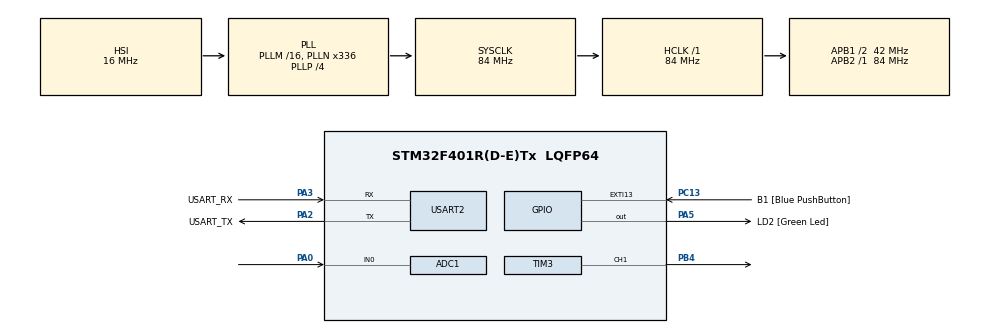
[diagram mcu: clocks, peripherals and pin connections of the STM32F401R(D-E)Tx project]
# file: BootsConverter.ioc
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ADC1.Channel-3\#ChannelRegularConversion=ADC_CHANNEL_0
ADC1.ExternalTrigConv=ADC_EXTERNALTRIGCONV_T2_TRGO
ADC1.NbrOfConversionFlag=1
ADC1.Rank-3\#ChannelRegularConversion=1
ADC1.SamplingTime-3\#ChannelRegularConversion=ADC_SAMPLETIME_84CYCLES
ADC1.master=1
Mcu.Family=STM32F4
Mcu.Name=STM32F401R(D-E)Tx
Mcu.Package=LQFP64
NVIC.ADC_IRQn=true\:0\:0\:false\:false\:true\:true\:true\:true
NVIC.PriorityGroup=NVIC_PRIORITYGROUP_4
NVIC.TIM4_IRQn=true\:2\:0\:true\:false\:true\:true\:true\:true
NVIC.USART2_IRQn=true\:1\:0\:true\:false\:true\:true\:true\:true
PA0-WKUP.Signal=ADCx_IN0
PA13.GPIO_Label=TMS
PA13.Mode=Serial_Wire
PA13.Signal=SYS_JTMS-SWDIO
PA14.GPIO_Label=TCK
PA14.Mode=Serial_Wire
PA14.Signal=SYS_JTCK-SWCLK
PA2.GPIO_Label=USART_TX
PA2.GPIO_Mode=GPIO_MODE_AF_PP
PA2.GPIO_PuPd=GPIO_NOPULL
PA2.GPIO_Speed=GPIO_SPEED_FREQ_LOW
PA2.Mode=Asynchronous
PA2.Signal=USART2_TX
PA3.GPIO_Label=USART_RX
PA3.GPIO_Mode=GPIO_MODE_AF_PP
PA3.GPIO_PuPd=GPIO_NOPULL
PA3.GPIO_Speed=GPIO_SPEED_FREQ_LOW
PA3.Mode=Asynchronous
PA3.Signal=USART2_RX
PA5.GPIO_Label=LD2 [Green Led]
PA5.GPIO_Mode=GPIO_MODE_OUTPUT_PP
PA5.GPIO_PuPd=GPIO_NOPULL
PA5.GPIO_Speed=GPIO_SPEED_FREQ_LOW
PA5.Signal=GPIO_Output
PB3.GPIO_Label=SWO
PB3.Signal=SYS_JTDO-SWO
PB4.Signal=S_TIM3_CH1
PC13-ANTI_TAMP.GPIO_Label=B1 [Blue PushButton]
PC13-ANTI_TAMP.GPIO_ModeDefaultEXTI=GPIO_MODE_IT_FALLING
PC13-ANTI_TAMP.GPIO_PuPd=GPIO_NOPULL
PC13-ANTI_TAMP.Signal=GPXTI13
PC14-OSC32_IN.Mode=LSE-External-Oscillator
PC14-OSC32_IN.Signal=RCC_OSC32_IN
PC15-OSC32_OUT.Mode=LSE-External-Oscillator
PC15-OSC32_OUT.Signal=RCC_OSC32_OUT
PH0\ -\ OSC_IN.Mode=HSE-External-Clock-Source
PH0\ -\ OSC_IN.Signal=RCC_OSC_IN
PH1\ -\ OSC_OUT.Mode=HSE-External-Clock-Source
PH1\ -\ OSC_OUT.Signal=RCC_OSC_OUT
ProjectManager.HeapSize=0x200
ProjectManager.StackSize=0x400
ProjectManager.TargetToolchain=MDK-ARM V5.32
RCC.48MHZClocksFreq_Value=48000000
RCC.AHBFreq_Value=84000000
RCC.APB1CLKDivider=RCC_HCLK_DIV2
RCC.APB1Freq_Value=42000000
RCC.APB1TimFreq_Value=84000000
RCC.APB2Freq_Value=84000000
RCC.APB2TimFreq_Value=84000000
RCC.CortexFreq_Value=84000000
RCC.HCLKFreq_Value=84000000
RCC.HSE_VALUE=8000000
RCC.HSI_VALUE=16000000
RCC.PLLN=336
RCC.PLLP=RCC_PLLP_DIV4
RCC.PLLQ=7
RCC.SYSCLKFreq_VALUE=84000000
RCC.SYSCLKSource=RCC_SYSCLKSOURCE_PLLCLK
RCC.VCOOutputFreq_Value=336000000
SH.ADCx_IN0.0=ADC1_IN0,IN0
SH.S_TIM3_CH1.0=TIM3_CH1,PWM Generation1 CH1
TIM2.Period=199
TIM2.Prescaler=83
TIM2.TIM_MasterOutputTrigger=TIM_TRGO_UPDATE
TIM3.Channel-PWM\ Generation1\ CH1=TIM_CHANNEL_1
TIM3.Period=839
TIM3.Pulse-PWM\ Generation1\ CH1=252
TIM4.Period=19999
TIM4.Prescaler=83
USART2.VirtualMode=VM_ASYNC
VP_TIM2_VS_ClockSourceINT.Mode=Internal
VP_TIM3_VS_ClockSourceINT.Mode=Internal
VP_TIM4_VS_ClockSourceINT.Mode=Internal
board=NUCLEO-F401RE

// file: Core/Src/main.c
/* USER CODE BEGIN Header */
/**
  ******************************************************************************
  * @file           : main.c
  * @brief          : Main program body
  ******************************************************************************
  * @attention
  *
  * Copyright (c) 2026 STMicroelectronics.
  * All rights reserved.
  *
  * This software is licensed under terms that can be found in the LICENSE file
  * in the root directory of this software component.
  * If no LICENSE file comes with this software, it is provided AS-IS.
  *
  ******************************************************************************
  */
/* USER CODE END Header */
#include "main.h"

/* USER CODE BEGIN Includes */
#include <stdio.h>

/* USER CODE END Includes */

/* USER CODE BEGIN PTD */

/*-----------------------------------------------------------
 * Stores ADC and output-voltage measurement data.
 *
 * adc_raw:
 *     Raw 12-bit ADC conversion result.
 *     Valid range: 0 ~ 4095.
 *
 * adc_mv:
 *     Voltage measured directly at the ADC input pin
 *     (PA0 / ADC1_IN0), in millivolts.
 *
 * vout_mv:
 *     Reconstructed Boost converter output voltage
 *     calculated from the feedback divider ratio.
 *
 * sample_count:
 *     Incremented after every ADC conversion.
 *     Since the ADC sampling rate is 5 kHz,
 *     this counter increases approximately 5000 times
 *     per second.
 ------------------------------------------------------------*/

typedef struct
{
    uint32_t adc_raw;
    uint32_t adc_mv;
		uint32_t vout_mv;
    uint32_t sample_count;

	  uint32_t vout_sum_mv;
    uint32_t vout_avg_mv;

    uint16_t avg_sample_count;
    uint8_t  avg_valid;

} Measurement_t;

/*-------------------------------------------------
 * Stores PI controller parameters, dynamic states,
 * and protection states.
 *
 * vref_mv:
 *     Target output voltage in millivolts.
 *
 * error_mv:
 *     Voltage regulation error:
 *
 *         error = Vref - Vout
 *
 *
 * kp / ki:
 *     PI controller gains.
 *
 * integral:
 *     Integral accumulator state:
 *
 *         integral += error * Ts
 *
 * duty_ff_permille:
 *     Nominal feed-forward duty cycle.
 *
 *     Example:
 *         300 = 30.0%
 *
 * duty_min_permille / duty_max_permille:
 *     Allowed duty-cycle range during normal
 *     closed-loop operation.
 *
 * enabled:
 *     Controller enable flag.
 *     Cleared when a protection fault occurs.
 *
 * fault_ovp:
 *     Latched over-voltage protection flag.
 *
 * fb_low_count:
 *     Number of consecutive low-feedback ADC samples.
 *
 * fault_feedback:
 *     Latched low-feedback fault flag.
 --------------------------------------------------*/

typedef struct
{
    uint32_t vref_mv;
	  int32_t error_mv;

		float kp;
		float ki;
	  float integral;

    uint16_t duty_ff_permille;
    uint16_t duty_min_permille;
    uint16_t duty_max_permille;

    uint8_t enabled;
	  uint8_t fault_ovp;

		uint16_t fb_low_count;
	  uint8_t fault_feedback;

} Controller_t;

/* USER CODE END PTD */

/* USER CODE BEGIN PD */

/* ============================================================
 * PWM Configuration
 * ============================================================
 *
 * Duty cycle is represented in permille:
 *
 *     1000 = 100.0%
 *      300 =  30.0%
 *       50 =   5.0%
 *
 * Permille representation provides 0.1% resolution
 * without using floating-point values in the PWM driver.
 */

/*
 * Absolute PWM duty-cycle limit.
 *
 * PWM_SetDutyPermille() will never allow the PWM output
 * to exceed this value, even if the controller generates
 * an invalid command.
 */

#define PWM_DUTY_MAX_PERMILLE           650U

/* ============================================================
 * Controller Configuration
 * ============================================================ */

/* Target Boost converter output voltage: 7.0 V */

#define CONTROL_VREF_MV                7000U

/*
 * Nominal feed-forward duty cycle.
 *
 * For an ideal Boost converter:
 *
 *     Vout = Vin / (1 - D)
 *
 * Therefore:
 *
 *     D = 1 - Vin / Vout
 *
 * For Vin = 5 V and Vout = 7 V:
 *
 *     D = 1 - 5/7
 *       = 0.286
 *
 * A nominal duty cycle of 30% is therefore used.
 */

#define CONTROL_DUTY_FF_PERMILLE        400U
//200
/*
 * Allowed duty-cycle range during normal
 * closed-loop operation:
 *
 *     15% <= duty <= 65%
 *
 * Protection functions may bypass the minimum duty
 * and force the PWM output to 0%.
 */

#define CONTROL_DUTY_MIN_PERMILLE       150U
#define CONTROL_DUTY_MAX_PERMILLE       650U

/*
 * Maximum contribution from the integral term.
 *
 *     +0.3 = +30% duty correction
 *     -0.3 = -30% duty correction
 *
 * This prevents excessive integral accumulation and
 * improves recovery after large operating-point changes.
 */

#define CONTROL_I_TERM_LIMIT    0.15f
//0.05
/*
 * Over-voltage protection threshold.
 *
 * When reconstructed Vout >= 10.0 V:
 *
 *     fault_ovp = 1
 *     controller is disabled
 *     PWM duty is forced to 0%
 *
 * The fault is latched until MCU reset.
 */

#define CONTROL_OVP_MV    10000U

/*
 * Low-feedback protection threshold.
 *
 * If Vout remains below 3.0 V for a sufficiently long
 * period, the feedback path or power stage is considered
 * abnormal.
 */

#define CONTROL_FB_LOW_MV            3000U

/*
 * The control loop runs at 5 kHz.
 *
 * 500 samples / 5000 samples/s
 * = 0.1 s
 * = 100 ms
 */

#define CONTROL_FB_LOW_COUNT_LIMIT    500U

/* ============================================================
 * ADC Configuration
 * ============================================================ */

/*
 * STM32F401 ADC:
 *
 *     Resolution: 12 bit
 *     Raw range:  0 ~ 4095
 *
 * VDDA is currently assumed to be 3.3 V.
 *
 * If higher measurement accuracy is required later,
 * the actual VDDA value can be measured and calibrated.
 */

#define ADC_FULL_SCALE              4095U
#define ADC_VREF_MV                 3300U

/* ============================================================
 * PI Controller Parameters
 * ============================================================ */

/*
 * ADC / controller update frequency:
 *
 *     fs = 5 kHz
 *
 * Therefore:
 *
 *     Ts = 1 / 5000
 *        = 0.0002 s
 */

#define CONTROL_TS_SEC      0.0002f

#define CONTROL_KP_TEST    0.05f
//0.02f  //0.4
#define CONTROL_KI_TEST     0.1f
//0.05f //0.1
#define FB_R_TOP_OHM               47000U
#define FB_R_BOTTOM_OHM            10000U

#define TELEMETRY_AVG_SAMPLES          100U
/* USER CODE END PD */

ADC_HandleTypeDef hadc1;

TIM_HandleTypeDef htim2;
TIM_HandleTypeDef htim3;
TIM_HandleTypeDef htim4;

UART_HandleTypeDef huart2;

/* USER CODE BEGIN PV */

static volatile Measurement_t measurement = {0};
static volatile uint16_t pwm_duty_permille = 0;
static volatile uint8_t telemetry_due = 0;
static volatile uint8_t uart_tx_busy = 0;
static char uart_tx_buf[128];

static volatile Controller_t controller = {0};

/* USER CODE END PV */

void SystemClock_Config(void);
static void MX_GPIO_Init(void);
static void MX_ADC1_Init(void);
static void MX_TIM3_Init(void);
static void MX_USART2_UART_Init(void);
static void MX_TIM2_Init(void);
static void MX_TIM4_Init(void);
/* USER CODE BEGIN PFP */

/* Application startup */
static void App_Start(void);

/* Measurement layer */
static uint32_t ADC_RawToMilliVolts(uint32_t raw);
static uint32_t Feedback_ADCToVoutMilliVolts(uint32_t adc_mv);
static void Measurement_Update(uint32_t raw);

/* PWM abstraction layer */
static void PWM_SetDutyPermille(uint16_t duty_permille);

/* PI controller */
static uint16_t Control_ClampDutyPermille(int32_t duty_permille);
static void Control_Init(void);
static void Control_Reset(void);
static void Control_Update(uint32_t vout_mv);

/* Protection */
static void Protection_Check(uint32_t vout_mv);

/* UART telemetry */
static void Telemetry_Request(void);
static void Telemetry_Service(void);
/* USER CODE END PFP */

/* USER CODE BEGIN 0 */

static uint32_t ADC_RawToMilliVolts(uint32_t raw)
{
    if (raw > ADC_FULL_SCALE)
    {
        raw = ADC_FULL_SCALE;
    }

    return (raw * ADC_VREF_MV) / ADC_FULL_SCALE;
}

static void Measurement_Update(uint32_t raw)
{
    measurement.adc_raw = raw;
    measurement.adc_mv = ADC_RawToMilliVolts(raw);
	  measurement.vout_mv = Feedback_ADCToVoutMilliVolts( measurement.adc_mv);
    measurement.sample_count++;

		measurement.vout_sum_mv +=
    measurement.vout_mv;
    measurement.avg_sample_count++;
    if (measurement.avg_sample_count >=
        TELEMETRY_AVG_SAMPLES)
    {
        measurement.vout_avg_mv =
            measurement.vout_sum_mv /
            TELEMETRY_AVG_SAMPLES;
        measurement.avg_valid = 1U;
        measurement.vout_sum_mv = 0U;
        measurement.avg_sample_count = 0U;
    }

}

static uint32_t Feedback_ADCToVoutMilliVolts(uint32_t adc_mv)
{
    return (adc_mv * (FB_R_TOP_OHM + FB_R_BOTTOM_OHM))
           / FB_R_BOTTOM_OHM;
}

static void PWM_SetDutyPermille(uint16_t duty_permille)
{
    if (duty_permille > PWM_DUTY_MAX_PERMILLE)
    {
        duty_permille = PWM_DUTY_MAX_PERMILLE;
    }

    uint32_t arr =
        __HAL_TIM_GET_AUTORELOAD(&htim3);

    uint32_t ccr =
        ((uint32_t)duty_permille * (arr + 1U)) / 1000U;

    __HAL_TIM_SET_COMPARE(
        &htim3,
        TIM_CHANNEL_1,
        ccr
    );

    pwm_duty_permille = duty_permille;
}

void HAL_TIM_PeriodElapsedCallback(TIM_HandleTypeDef *htim)
{
    if (htim->Instance == TIM4)
    {
       Telemetry_Request();
    }
}

static void Control_Init(void)
{
    controller.vref_mv = CONTROL_VREF_MV;
		controller.kp = CONTROL_KP_TEST;
	  controller.ki = CONTROL_KI_TEST;

    controller.duty_ff_permille =
        CONTROL_DUTY_FF_PERMILLE;

    controller.duty_min_permille =
        CONTROL_DUTY_MIN_PERMILLE;

    controller.duty_max_permille =
        CONTROL_DUTY_MAX_PERMILLE;

    controller.enabled = 1U;
}

static void Control_Reset(void)
{
    /*
     * Controller dynamic states will be reset here.
     * Integral state will be added later.
     */
		controller.error_mv = 0;
	  controller.integral = 0.0f;
	  controller.fault_ovp = 0U;
		controller.fb_low_count = 0U;
		controller.fault_feedback = 0U;

    PWM_SetDutyPermille(
        controller.duty_ff_permille
    );
}

static void Control_Update(uint32_t vout_mv)
{
    if (controller.enabled == 0U)
    {
        return;
    }

    controller.error_mv =
        (int32_t)controller.vref_mv -
        (int32_t)vout_mv;

    /* mV -> V */
    float error_v =
        (float)controller.error_mv / 1000.0f;

    /* P term */
    float p_term =
        controller.kp * error_v;

    /*
     * Calculate candidate integral first.
     * Do not immediately store it.
     */
    float integral_candidate =
        controller.integral +
        error_v * CONTROL_TS_SEC;

    float i_term_candidate =
        controller.ki * integral_candidate;
		/*
		 * Limit integral contribution to -+5% duty.
		 */
		if (i_term_candidate > CONTROL_I_TERM_LIMIT)
		{
				i_term_candidate = CONTROL_I_TERM_LIMIT;

				integral_candidate =
						CONTROL_I_TERM_LIMIT / controller.ki;
		}
		else if (i_term_candidate < -CONTROL_I_TERM_LIMIT)
		{
				i_term_candidate = -CONTROL_I_TERM_LIMIT;

				integral_candidate =
						-CONTROL_I_TERM_LIMIT / controller.ki;
		}

    float duty_ff =
        (float)controller.duty_ff_permille / 1000.0f;

    float duty_min =
        (float)controller.duty_min_permille / 1000.0f;

    float duty_max =
        (float)controller.duty_max_permille / 1000.0f;

    /*
     * Unsaturated duty using candidate integral.
     */
    float duty_unsat =
        duty_ff +
        p_term +
        i_term_candidate;

    /*
     * Conditional integration anti-windup.
     *
     * Stop integrating only when integration would
     * push the controller further into saturation.
     */
    if (!((duty_unsat >= duty_max && error_v > 0.0f) ||
          (duty_unsat <= duty_min && error_v < 0.0f)))
    {
        controller.integral = integral_candidate;
    }

    /*
     * Recalculate output using accepted integral.
     */
    float i_term =
        controller.ki * controller.integral;

    float duty_command =
        duty_ff +
        p_term +
        i_term;

    int32_t duty_permille =
        (int32_t)(duty_command * 1000.0f);

    uint16_t duty =
        Control_ClampDutyPermille(duty_permille);

    PWM_SetDutyPermille(duty);
}

static uint16_t Control_ClampDutyPermille(int32_t duty_permille)
{
    if (duty_permille < (int32_t)controller.duty_min_permille)
    {
        return controller.duty_min_permille;
    }

    if (duty_permille > (int32_t)controller.duty_max_permille)
    {
        return controller.duty_max_permille;
    }

    return (uint16_t)duty_permille;
}

static void Protection_Check(uint32_t vout_mv)
{
    if (vout_mv >= CONTROL_OVP_MV)
    {
        controller.fault_ovp = 1U;
        controller.enabled = 0U;

        /*
         * Emergency shutdown.
         * Bypass controller minimum duty limit.
         */
        PWM_SetDutyPermille(0U);
			  return;
    }
		 /*
     * Abnormally low feedback.
     * Require 100 ms continuously below threshold.
     */
    if (vout_mv < CONTROL_FB_LOW_MV)
    {
        if (controller.fb_low_count < CONTROL_FB_LOW_COUNT_LIMIT)
        {
            controller.fb_low_count++;
        }

        if (controller.fb_low_count >= CONTROL_FB_LOW_COUNT_LIMIT)
        {
            controller.fault_feedback = 1U;
            controller.enabled = 0U;

            PWM_SetDutyPermille(0U);
        }
    }
    else
    {
        controller.fb_low_count = 0U;
    }
}

static void Telemetry_Request(void)
{
    telemetry_due = 1U;
}

static void Telemetry_Service(void)
{
    /*
     * Nothing to send.
     */
    if (telemetry_due == 0U)
    {
        return;
    }

    /*
     * Previous interrupt-driven UART transmission
     * has not completed yet.
     */
    if (uart_tx_busy != 0U)
    {
        return;
    }

    /*
     * Snapshot shared data.
     */
				if (measurement.avg_valid == 0U)
		{
				return;
		}

    uint32_t raw = measurement.adc_raw;
    uint32_t adc_mv = measurement.adc_mv;
    uint32_t count = measurement.sample_count;
    uint16_t duty = pwm_duty_permille;
		uint32_t vout_mv = measurement.vout_avg_mv;
		int32_t error_mv = controller.error_mv;

		uint8_t fault_ovp = controller.fault_ovp;
		uint8_t fb_fault=controller.fault_feedback;
		int len = snprintf(
				uart_tx_buf,
				sizeof(uart_tx_buf),
				"%lu,%lu,%ld,%u,%u,%u\r\n",
				(unsigned long)count,
				(unsigned long)vout_mv,
				(long)error_mv,
				duty,
				fault_ovp,
				fb_fault
		);
    if (len <= 0)
    {
        return;
    }

    if ((uint32_t)len >= sizeof(uart_tx_buf))
    {
        len = sizeof(uart_tx_buf) - 1U;
    }

    /*
     * Consume current telemetry request.
     */
    telemetry_due = 0U;

    /*
     * Buffer must not be modified until
     * HAL_UART_TxCpltCallback().
     */
    uart_tx_busy = 1U;

    if (HAL_UART_Transmit_IT(
            &huart2,
            (uint8_t *)uart_tx_buf,
            (uint16_t)len) != HAL_OK)
    {
        /*
         * Transmission failed to start.
         * Release buffer and retry later.
         */
        uart_tx_busy = 0U;
        telemetry_due = 1U;
    }
}

static void App_Start(void)
{

	  Control_Init();

    Control_Reset();

    if (HAL_TIM_PWM_Start(&htim3, TIM_CHANNEL_1) != HAL_OK)
    {
        Error_Handler();
    }

    /*
     * ADC is armed first.
     * Actual conversions are triggered by TIM2 TRGO.
     */
    if (HAL_ADC_Start_IT(&hadc1) != HAL_OK)
    {
        Error_Handler();
    }

    /*
     * TIM2:
     * 5 kHz TRGO for ADC.
     * No TIM2 interrupt.
     */
    if (HAL_TIM_Base_Start(&htim2) != HAL_OK)
    {
        Error_Handler();
    }

    /*
     * TIM4:
     * 50 Hz telemetry scheduler.
     */
    if (HAL_TIM_Base_Start_IT(&htim4) != HAL_OK)
    {
        Error_Handler();
    }
}

/* USER CODE END 0 */

int main(void)
{

  /* MCU Configuration--------------------------------------------------------*/

  /* Reset of all peripherals, Initializes the Flash interface and the Systick. */
  HAL_Init();

  /* Configure the system clock */
  SystemClock_Config();

  /* Initialize all configured peripherals */
  MX_GPIO_Init();
  MX_ADC1_Init();
  MX_TIM3_Init();
  MX_USART2_UART_Init();
  MX_TIM2_Init();
  MX_TIM4_Init();
  /* USER CODE BEGIN 2 */

	char msg[] = "\r\nSTM32 BOOST CONTROLLER READY\r\n";

	HAL_UART_Transmit(
			&huart2,
			(uint8_t *)msg,
			sizeof(msg) - 1U,
			HAL_MAX_DELAY
	);
	App_Start();

  /* USER CODE END 2 */

  /* Infinite loop */
  while (1)
  {

    /* USER CODE BEGIN 3 */
		Telemetry_Service();
  }
  /* USER CODE END 3 */
}

void SystemClock_Config(void)
{
  RCC_OscInitTypeDef RCC_OscInitStruct = {0};
  RCC_ClkInitTypeDef RCC_ClkInitStruct = {0};

  /** Configure the main internal regulator output voltage
  */
  __HAL_RCC_PWR_CLK_ENABLE();
  __HAL_PWR_VOLTAGESCALING_CONFIG(PWR_REGULATOR_VOLTAGE_SCALE2);

  /** Initializes the RCC Oscillators according to the specified parameters
  * in the RCC_OscInitTypeDef structure.
  */
  RCC_OscInitStruct.OscillatorType = RCC_OSCILLATORTYPE_HSI;
  RCC_OscInitStruct.HSIState = RCC_HSI_ON;
  RCC_OscInitStruct.HSICalibrationValue = RCC_HSICALIBRATION_DEFAULT;
  RCC_OscInitStruct.PLL.PLLState = RCC_PLL_ON;
  RCC_OscInitStruct.PLL.PLLSource = RCC_PLLSOURCE_HSI;
  RCC_OscInitStruct.PLL.PLLM = 16;
  RCC_OscInitStruct.PLL.PLLN = 336;
  RCC_OscInitStruct.PLL.PLLP = RCC_PLLP_DIV4;
  RCC_OscInitStruct.PLL.PLLQ = 7;
  if (HAL_RCC_OscConfig(&RCC_OscInitStruct) != HAL_OK)
  {
    Error_Handler();
  }

  /** Initializes the CPU, AHB and APB buses clocks
  */
  RCC_ClkInitStruct.ClockType = RCC_CLOCKTYPE_HCLK|RCC_CLOCKTYPE_SYSCLK
                              |RCC_CLOCKTYPE_PCLK1|RCC_CLOCKTYPE_PCLK2;
  RCC_ClkInitStruct.SYSCLKSource = RCC_SYSCLKSOURCE_PLLCLK;
  RCC_ClkInitStruct.AHBCLKDivider = RCC_SYSCLK_DIV1;
  RCC_ClkInitStruct.APB1CLKDivider = RCC_HCLK_DIV2;
  RCC_ClkInitStruct.APB2CLKDivider = RCC_HCLK_DIV1;

  if (HAL_RCC_ClockConfig(&RCC_ClkInitStruct, FLASH_LATENCY_2) != HAL_OK)
  {
    Error_Handler();
  }
}

static void MX_ADC1_Init(void)
{

  ADC_ChannelConfTypeDef sConfig = {0};

  /** Configure the global features of the ADC (Clock, Resolution, Data Alignment and number of conversion)
  */
  hadc1.Instance = ADC1;
  hadc1.Init.ClockPrescaler = ADC_CLOCK_SYNC_PCLK_DIV4;
  hadc1.Init.Resolution = ADC_RESOLUTION_12B;
  hadc1.Init.ScanConvMode = DISABLE;
  hadc1.Init.ContinuousConvMode = DISABLE;
  hadc1.Init.DiscontinuousConvMode = DISABLE;
  hadc1.Init.ExternalTrigConvEdge = ADC_EXTERNALTRIGCONVEDGE_RISING;
  hadc1.Init.ExternalTrigConv = ADC_EXTERNALTRIGCONV_T2_TRGO;
  hadc1.Init.DataAlign = ADC_DATAALIGN_RIGHT;
  hadc1.Init.NbrOfConversion = 1;
  hadc1.Init.DMAContinuousRequests = DISABLE;
  hadc1.Init.EOCSelection = ADC_EOC_SINGLE_CONV;
  if (HAL_ADC_Init(&hadc1) != HAL_OK)
  {
    Error_Handler();
  }

  /** Configure for the selected ADC regular channel its corresponding rank in the sequencer and its sample time.
  */
  sConfig.Channel = ADC_CHANNEL_0;
  sConfig.Rank = 1;
  sConfig.SamplingTime = ADC_SAMPLETIME_84CYCLES;
  if (HAL_ADC_ConfigChannel(&hadc1, &sConfig) != HAL_OK)
  {
    Error_Handler();
  }

}

static void MX_TIM2_Init(void)
{

  TIM_ClockConfigTypeDef sClockSourceConfig = {0};
  TIM_MasterConfigTypeDef sMasterConfig = {0};

  htim2.Instance = TIM2;
  htim2.Init.Prescaler = 83;
  htim2.Init.CounterMode = TIM_COUNTERMODE_UP;
  htim2.Init.Period = 199;
  htim2.Init.ClockDivision = TIM_CLOCKDIVISION_DIV1;
  htim2.Init.AutoReloadPreload = TIM_AUTORELOAD_PRELOAD_DISABLE;
  if (HAL_TIM_Base_Init(&htim2) != HAL_OK)
  {
    Error_Handler();
  }
  sClockSourceConfig.ClockSource = TIM_CLOCKSOURCE_INTERNAL;
  if (HAL_TIM_ConfigClockSource(&htim2, &sClockSourceConfig) != HAL_OK)
  {
    Error_Handler();
  }
  sMasterConfig.MasterOutputTrigger = TIM_TRGO_UPDATE;
  sMasterConfig.MasterSlaveMode = TIM_MASTERSLAVEMODE_DISABLE;
  if (HAL_TIMEx_MasterConfigSynchronization(&htim2, &sMasterConfig) != HAL_OK)
  {
    Error_Handler();
  }

}

static void MX_TIM3_Init(void)
{

  TIM_ClockConfigTypeDef sClockSourceConfig = {0};
  TIM_MasterConfigTypeDef sMasterConfig = {0};
  TIM_OC_InitTypeDef sConfigOC = {0};

  htim3.Instance = TIM3;
  htim3.Init.Prescaler = 0;
  htim3.Init.CounterMode = TIM_COUNTERMODE_UP;
  htim3.Init.Period = 839;
  htim3.Init.ClockDivision = TIM_CLOCKDIVISION_DIV1;
  htim3.Init.AutoReloadPreload = TIM_AUTORELOAD_PRELOAD_DISABLE;
  if (HAL_TIM_Base_Init(&htim3) != HAL_OK)
  {
    Error_Handler();
  }
  sClockSourceConfig.ClockSource = TIM_CLOCKSOURCE_INTERNAL;
  if (HAL_TIM_ConfigClockSource(&htim3, &sClockSourceConfig) != HAL_OK)
  {
    Error_Handler();
  }
  if (HAL_TIM_PWM_Init(&htim3) != HAL_OK)
  {
    Error_Handler();
  }
  sMasterConfig.MasterOutputTrigger = TIM_TRGO_RESET;
  sMasterConfig.MasterSlaveMode = TIM_MASTERSLAVEMODE_DISABLE;
  if (HAL_TIMEx_MasterConfigSynchronization(&htim3, &sMasterConfig) != HAL_OK)
  {
    Error_Handler();
  }
  sConfigOC.OCMode = TIM_OCMODE_PWM1;
  sConfigOC.Pulse = 252;
  sConfigOC.OCPolarity = TIM_OCPOLARITY_HIGH;
  sConfigOC.OCFastMode = TIM_OCFAST_DISABLE;
  if (HAL_TIM_PWM_ConfigChannel(&htim3, &sConfigOC, TIM_CHANNEL_1) != HAL_OK)
  {
    Error_Handler();
  }
  HAL_TIM_MspPostInit(&htim3);

}

static void MX_TIM4_Init(void)
{

  TIM_ClockConfigTypeDef sClockSourceConfig = {0};
  TIM_MasterConfigTypeDef sMasterConfig = {0};

  htim4.Instance = TIM4;
  htim4.Init.Prescaler = 83;
  htim4.Init.CounterMode = TIM_COUNTERMODE_UP;
  htim4.Init.Period = 19999;
  htim4.Init.ClockDivision = TIM_CLOCKDIVISION_DIV1;
  htim4.Init.AutoReloadPreload = TIM_AUTORELOAD_PRELOAD_DISABLE;
  if (HAL_TIM_Base_Init(&htim4) != HAL_OK)
  {
    Error_Handler();
  }
  sClockSourceConfig.ClockSource = TIM_CLOCKSOURCE_INTERNAL;
  if (HAL_TIM_ConfigClockSource(&htim4, &sClockSourceConfig) != HAL_OK)
  {
    Error_Handler();
  }
  sMasterConfig.MasterOutputTrigger = TIM_TRGO_RESET;
  sMasterConfig.MasterSlaveMode = TIM_MASTERSLAVEMODE_DISABLE;
  if (HAL_TIMEx_MasterConfigSynchronization(&htim4, &sMasterConfig) != HAL_OK)
  {
    Error_Handler();
  }

}

static void MX_USART2_UART_Init(void)
{

  huart2.Instance = USART2;
  huart2.Init.BaudRate = 115200;
  huart2.Init.WordLength = UART_WORDLENGTH_8B;
  huart2.Init.StopBits = UART_STOPBITS_1;
  huart2.Init.Parity = UART_PARITY_NONE;
  huart2.Init.Mode = UART_MODE_TX_RX;
  huart2.Init.HwFlowCtl = UART_HWCONTROL_NONE;
  huart2.Init.OverSampling = UART_OVERSAMPLING_16;
  if (HAL_UART_Init(&huart2) != HAL_OK)
  {
    Error_Handler();
  }

}

static void MX_GPIO_Init(void)
{
  GPIO_InitTypeDef GPIO_InitStruct = {0};

  /* GPIO Ports Clock Enable */
  __HAL_RCC_GPIOC_CLK_ENABLE();
  __HAL_RCC_GPIOH_CLK_ENABLE();
  __HAL_RCC_GPIOA_CLK_ENABLE();
  __HAL_RCC_GPIOB_CLK_ENABLE();

  /*Configure GPIO pin Output Level */
  HAL_GPIO_WritePin(LD2_GPIO_Port, LD2_Pin, GPIO_PIN_RESET);

  /*Configure GPIO pin : B1_Pin */
  GPIO_InitStruct.Pin = B1_Pin;
  GPIO_InitStruct.Mode = GPIO_MODE_IT_FALLING;
  GPIO_InitStruct.Pull = GPIO_NOPULL;
  HAL_GPIO_Init(B1_GPIO_Port, &GPIO_InitStruct);

  /*Configure GPIO pin : LD2_Pin */
  GPIO_InitStruct.Pin = LD2_Pin;
  GPIO_InitStruct.Mode = GPIO_MODE_OUTPUT_PP;
  GPIO_InitStruct.Pull = GPIO_NOPULL;
  GPIO_InitStruct.Speed = GPIO_SPEED_FREQ_LOW;
  HAL_GPIO_Init(LD2_GPIO_Port, &GPIO_InitStruct);

}

/* USER CODE BEGIN 4 */
void HAL_ADC_ConvCpltCallback(ADC_HandleTypeDef *hadc)
{
    if (hadc->Instance == ADC1)
    {
        uint32_t raw = HAL_ADC_GetValue(hadc);

        Measurement_Update(raw);
				Protection_Check(measurement.vout_mv);
        Control_Update(measurement.vout_mv);
    }
}

void HAL_UART_TxCpltCallback(UART_HandleTypeDef *huart)
{
    if (huart->Instance == USART2)
    {
        uart_tx_busy = 0U;

    }
}

/* USER CODE END 4 */

void Error_Handler(void)
{
  __disable_irq();
  while (1)
  {
  }
}
